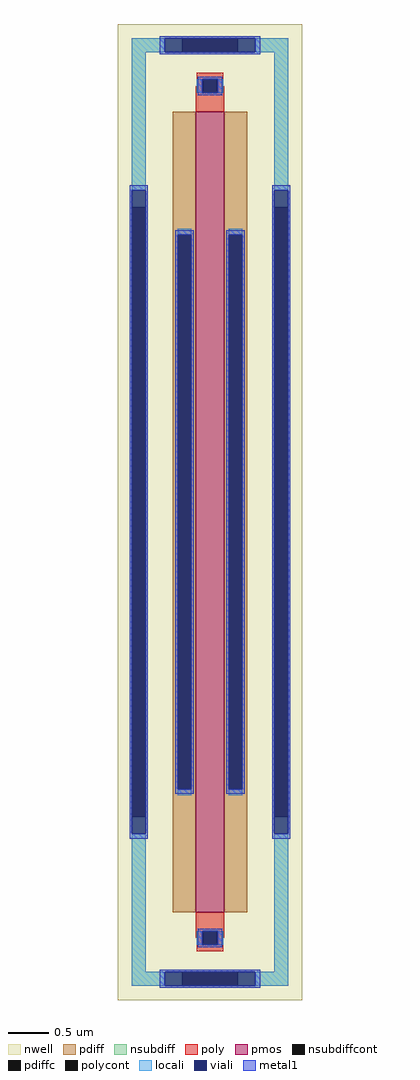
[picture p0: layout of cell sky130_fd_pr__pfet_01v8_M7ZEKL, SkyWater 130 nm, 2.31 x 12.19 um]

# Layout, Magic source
magic
tech sky130A
magscale 1 2
<< nwell >>
rect -231 -1219 231 1219
<< pmos >>
rect -35 -1000 35 1000
<< pdiff >>
rect -93 692 -35 1000
rect -93 -692 -81 692
rect -47 -692 -35 692
rect -93 -1000 -35 -692
rect 35 692 93 1000
rect 35 -692 47 692
rect 81 -692 93 692
rect 35 -1000 93 -692
<< pdiffc >>
rect -81 -692 -47 692
rect 47 -692 81 692
<< nsubdiff >>
rect -195 1149 -69 1183
rect 69 1149 195 1183
rect -195 761 -161 1149
rect -195 -1149 -161 -761
rect 161 761 195 1149
rect 161 -1149 195 -761
rect -195 -1183 -69 -1149
rect 69 -1183 195 -1149
<< nsubdiffcont >>
rect -69 1149 69 1183
rect -195 -761 -161 761
rect 161 -761 195 761
rect -69 -1183 69 -1149
<< poly >>
rect -33 1081 33 1097
rect -33 1064 -17 1081
rect -35 1047 -17 1064
rect 17 1064 33 1081
rect 17 1047 35 1064
rect -35 1000 35 1047
rect -35 -1047 35 -1000
rect -35 -1064 -17 -1047
rect -33 -1081 -17 -1064
rect 17 -1064 35 -1047
rect 17 -1081 33 -1064
rect -33 -1097 33 -1081
<< polycont >>
rect -17 1047 17 1081
rect -17 -1081 17 -1047
<< locali >>
rect -195 1149 -113 1183
rect 113 1149 195 1183
rect -195 804 -161 1149
rect -33 1047 -19 1081
rect 19 1047 33 1081
rect 161 804 195 1149
rect -81 692 -47 708
rect -81 -708 -47 -692
rect 47 692 81 708
rect 47 -708 81 -692
rect -195 -1149 -161 -804
rect -33 -1081 -19 -1047
rect 19 -1081 33 -1047
rect 161 -1149 195 -804
rect -195 -1183 -113 -1149
rect 113 -1183 195 -1149
<< viali >>
rect -113 1149 -69 1183
rect -69 1149 69 1183
rect 69 1149 113 1183
rect -19 1047 -17 1081
rect -17 1047 17 1081
rect 17 1047 19 1081
rect -195 761 -161 804
rect -195 -761 -161 761
rect 161 761 195 804
rect -81 -692 -47 692
rect 47 -692 81 692
rect -195 -804 -161 -761
rect 161 -761 195 761
rect 161 -804 195 -761
rect -19 -1081 -17 -1047
rect -17 -1081 17 -1047
rect 17 -1081 19 -1047
rect -113 -1183 -69 -1149
rect -69 -1183 69 -1149
rect 69 -1183 113 -1149
<< metal1 >>
rect -125 1183 125 1189
rect -125 1149 -113 1183
rect 113 1149 125 1183
rect -125 1143 125 1149
rect -31 1081 31 1087
rect -31 1047 -19 1081
rect 19 1047 31 1081
rect -31 1041 31 1047
rect -201 804 -155 816
rect -201 -804 -195 804
rect -161 -804 -155 804
rect 155 804 201 816
rect -87 692 -41 704
rect -87 -692 -81 692
rect -47 -692 -41 692
rect -87 -704 -41 -692
rect 41 692 87 704
rect 41 -692 47 692
rect 81 -692 87 692
rect 41 -704 87 -692
rect -201 -816 -155 -804
rect 155 -804 161 804
rect 195 -804 201 804
rect 155 -816 201 -804
rect -31 -1047 31 -1041
rect -31 -1081 -19 -1047
rect 19 -1081 31 -1047
rect -31 -1087 31 -1081
rect -125 -1149 125 -1143
rect -125 -1183 -113 -1149
rect 113 -1183 125 -1149
rect -125 -1189 125 -1183
<< properties >>
string FIXED_BBOX -178 -1166 178 1166
string gencell sky130_fd_pr__pfet_01v8
string library sky130
string parameters w 10.0 l 0.35 m 1 nf 1 diffcov 70 polycov 70 guard 1 glc 1 grc 1 gtc 1 gbc 1 tbcov 70 rlcov 70 topc 1 botc 1 poverlap 0 doverlap 1 lmin 0.15 wmin 0.42 compatible {sky130_fd_pr__pfet_01v8  sky130_fd_pr__pfet_01v8_lvt sky130_fd_pr__pfet_01v8_hvt  sky130_fd_pr__pfet_g5v0d10v5} full_metal 1 viasrc 70 viadrn 70 viagate 100 viagb 70 viagr 70 viagl 70 viagt 70
<< end >>
